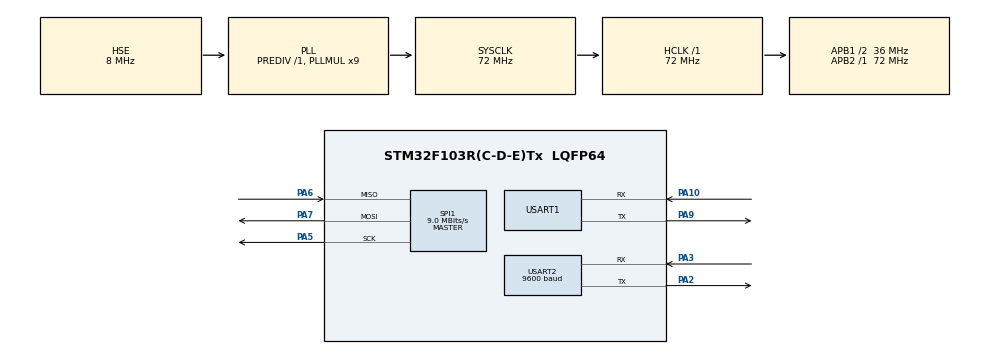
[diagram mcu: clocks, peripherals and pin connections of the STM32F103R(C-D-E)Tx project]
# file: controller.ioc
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Mcu.Family=STM32F1
Mcu.Name=STM32F103R(C-D-E)Tx
Mcu.Package=LQFP64
NVIC.PriorityGroup=NVIC_PRIORITYGROUP_4
NVIC.USART2_IRQn=true\:2\:0\:true\:false\:true\:true\:true\:true
PA10.Mode=Asynchronous
PA10.Signal=USART1_RX
PA13.Mode=Serial_Wire
PA13.Signal=SYS_JTMS-SWDIO
PA14.Mode=Serial_Wire
PA14.Signal=SYS_JTCK-SWCLK
PA2.Mode=Asynchronous
PA2.Signal=USART2_TX
PA3.Mode=Asynchronous
PA3.Signal=USART2_RX
PA5.Mode=Full_Duplex_Master
PA5.Signal=SPI1_SCK
PA6.Mode=Full_Duplex_Master
PA6.Signal=SPI1_MISO
PA7.Mode=Full_Duplex_Master
PA7.Signal=SPI1_MOSI
PA9.Mode=Asynchronous
PA9.Signal=USART1_TX
PD0-OSC_IN.Mode=HSE-External-Oscillator
PD0-OSC_IN.Signal=RCC_OSC_IN
PD1-OSC_OUT.Mode=HSE-External-Oscillator
PD1-OSC_OUT.Signal=RCC_OSC_OUT
ProjectManager.HeapSize=0x200
ProjectManager.StackSize=0x400
ProjectManager.TargetToolchain=STM32CubeIDE
RCC.AHBFreq_Value=72000000
RCC.APB1CLKDivider=RCC_HCLK_DIV2
RCC.APB1Freq_Value=36000000
RCC.APB1TimFreq_Value=72000000
RCC.APB2Freq_Value=72000000
RCC.APB2TimFreq_Value=72000000
RCC.HCLKFreq_Value=72000000
RCC.PLLMUL=RCC_PLL_MUL9
RCC.PLLSourceVirtual=RCC_PLLSOURCE_HSE
RCC.SYSCLKFreq_VALUE=72000000
RCC.SYSCLKSource=RCC_SYSCLKSOURCE_PLLCLK
RCC.USBFreq_Value=72000000
SPI1.BaudRatePrescaler=SPI_BAUDRATEPRESCALER_8
SPI1.CalculateBaudRate=9.0 MBits/s
SPI1.Direction=SPI_DIRECTION_2LINES
SPI1.Mode=SPI_MODE_MASTER
SPI1.VirtualType=VM_MASTER
USART1.VirtualMode=VM_ASYNC
USART2.BaudRate=9600
USART2.VirtualMode=VM_ASYNC
board=custom

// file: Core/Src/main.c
/* USER CODE BEGIN Header */
/**
  ******************************************************************************
  * @file           : main.c
  * @brief          : Main program body
  ******************************************************************************
  * @attention
  *
  * Copyright (c) 2022 STMicroelectronics.
  * All rights reserved.
  *
  * This software is licensed under terms that can be found in the LICENSE file
  * in the root directory of this software component.
  * If no LICENSE file comes with this software, it is provided AS-IS.
  *
  ******************************************************************************
  */
/* USER CODE END Header */
#include "main.h"
#include "spi.h"
#include "usart.h"
#include "gpio.h"

/* USER CODE BEGIN Includes */

/* Private includes ----------------------------------------------------------*/
/* USER CODE BEGIN Includes */
#include "sys.h"
#include "delay.h"
//#include "usart.h"
#include "led.h"
#include "key.h"
#include "lcd.h"
//#include "usmart.h"
#include "touch.h"
#include "24cxx.h"
#include "24l01.h" //通信驱动 基于spi进行通信
//#include "remote.h" 红外遥控驱动

#include "bluetooth.h"
#include <string.h>
#include <math.h>
/* USER CODE END Includes */

/* USER CODE BEGIN PD */
unsigned char DATA_TO_SEND[800];
int state_num = 0;
u8 STATE[30];

uint8_t rxBuffer[38];
// UART_HandleTypeDef huart1;
uint8_t map[4][4] = {
    {0, 0, 0, 0},
    {0, 0, 0, 0},
    {0, 0, 0, 0},
    {0, 0, 0, 0}
};
int mode;
extern uint8_t current_mode;
uint8_t change_mode;
uint8_t flag;
extern const unsigned char gImage_obs[6728];
extern const unsigned char gImage_HLINE[6728];
extern const unsigned char gImage_VLINE[6728];
extern const unsigned char gImage_WN[6728];
extern const unsigned char gImage_EN[6728];
extern const unsigned char gImage_WS[6728];
extern const unsigned char gImage_ES[6728];
extern const unsigned char gImage_start[6728];
extern const unsigned char gImage_end[6728];
extern const unsigned char gImage_left[6728];
extern const unsigned char gImage_right[6728];
extern const unsigned char gImage_forward[6728];
extern const unsigned char gImage_back[6728];
extern const unsigned char gImage_turnleft[6728];
extern const unsigned char gImage_turnright[6728];
extern const unsigned char gImage_stop[6728];

void draw_map(uint8_t map[4][4]); //绘制地图，显示方格中的内容（障碍物、起始点、路径）
void full_control(); //通过上位机完全控制小车移动的GUI。目前功能实现为：点击某一个方格，在屏幕上显示该方格的坐标
void path_processing(); // 路径规划的GUI。目前功能为：点击某一个方格，在方格上显示一个障碍物
void detect_obs(); //自动避障的GUI，目前功能为显示所有种类的图标

////////////////////////////////////////////////////////////////////////// 路径规划相关定义
//四个阶段
typedef enum {
    STAGE_SET_START,
    STAGE_SET_END,
    STAGE_SET_OBSTACLE,
    STAGE_DRAW_PATH,
	STAGE_FINISH
} Stage;

static Stage currentStage = STAGE_SET_START;

//起点与终点坐标
static int8_t start_r = -1,start_c = -1;
static int8_t end_r = -1, end_c = -1;

static int start_set = 0;
static int end_set = 0;

//屏幕底部预留一个高度区域，用来放两个按钮
#define BTN_CONFIRM_X1 0
#define BTN_CONFIRM_Y1 290
#define BTN_CONFIRM_X2 100
#define BTN_CONFIRM_Y2 310

#define BTN_EDIT_X1 110
#define BTN_EDIT_Y1 290
#define BTN_EDIT_X2 210
#define BTN_EDIT_Y2 310
#define BTN_START_X1 0
#define BTN_START_Y1 0
#define BTN_START_X2 100
#define BTN_START_Y2 20
#define MAX_PATH_POINTS 10000
//路径绘制数据结构
typedef struct{
	u16 x,y;
} PixelPoint;

static PixelPoint userLine[MAX_PATH_POINTS];
static int userLineLen=0;
static int drawingLine=0; // 是否正在画线中（按住屏幕）
u8 grid_path[32]; //规划路径，以格子为单位
u8 grid_len=0;
u8 nav_pkt=0; //小车是否接收到路径规划信息

void reset_all(); //重置地图与数据
void draw_buttons(); //Confirm 和 Edit 和 Start按钮
void handle_confirm(); // Confirm按钮
void handle_edit(); //Edit按钮
int touch_in_rect(u16 tx, u16 ty, u16 x1, u16 y1, u16 x2, u16 y2); //检测是否点击按钮
int screen_to_grid(int sx, int sy, int* gr, int* gc); //将屏幕坐标转为网格坐标
void draw_dashed_trajectory(PixelPoint *userLine, int userLineLen, int onLength, int offLength); //画线函数

//////////////////////////////////////////////////////////////////////////////
/* USER CODE END PD */

/* USER CODE BEGIN PM */
//清空屏幕并在右上角显示"RST"

////////////////////////////////////////////////////////////////////////////////
//电容触摸屏专有部
//画水平线
//x0,y0:坐标
//len:线长
//color:颜色
void gui_draw_hline(u16 x0,u16 y0,u16 len,u16 color)
{
	if(len==0)return;
	LCD_Fill(x0,y0,x0+len-1,y0,color);
}
//画实心圆
//x0,y0:坐标
//r:半径
//color:颜色
void gui_fill_circle(u16 x0,u16 y0,u16 r,u16 color)
{
	u32 i;
	u32 imax = ((u32)r*707)/1000+1;
	u32 sqmax = (u32)r*(u32)r+(u32)r/2;
	u32 x=r;
	gui_draw_hline(x0-r,y0,2*r,color);
	for (i=1;i<=imax;i++)
	{
		if ((i*i+x*x)>sqmax)// draw lines from outside
		{
 			if (x>imax)
			{
				gui_draw_hline (x0-i+1,y0+x,2*(i-1),color);
				gui_draw_hline (x0-i+1,y0-x,2*(i-1),color);
			}
			x--;
		}
		// draw lines from inside (center)
		gui_draw_hline(x0-x,y0+i,2*x,color);
		gui_draw_hline(x0-x,y0-i,2*x,color);
	}
}
//两个数之差的绝对
//x1,x2：需取差值的两个
//返回值：|x1-x2|
u16 my_abs(u16 x1,u16 x2)
{
	if(x1>x2)return x1-x2;
	else return x2-x1;
}
//画一条粗
//(x1,y1),(x2,y2):线条的起始坐标
//size：线条的粗细程度
//color：线条的颜色
void lcd_draw_bline(u16 x1, u16 y1, u16 x2, u16 y2,u8 size,u16 color)
{
	u16 t;
	int xerr=0,yerr=0,delta_x,delta_y,distance;
	int incx,incy,uRow,uCol;
	if(x1<size|| x2<size||y1<size|| y2<size)return;
	delta_x=x2-x1; //计算坐标增量
	delta_y=y2-y1;
	uRow=x1;
	uCol=y1;
	if(delta_x>0)incx=1; //设置单步方向
	else if(delta_x==0)incx=0;//垂直
	else {incx=-1;delta_x=-delta_x;}
	if(delta_y>0)incy=1;
	else if(delta_y==0)incy=0;//水平
	else{incy=-1;delta_y=-delta_y;}
	if( delta_x>delta_y)distance=delta_x; //选取基本增量坐标
	else distance=delta_y;
	for(t=0;t<=distance+1;t++ )//画线输出
	{
		gui_fill_circle(uRow,uCol,size,color);//画点
		xerr+=delta_x ;
		yerr+=delta_y ;
		if(xerr>distance)
		{
			xerr-=distance;
			uRow+=incx;
		}
		if(yerr>distance)
		{
			yerr-=distance;
			uCol+=incy;
		}
	}
}

void set_map(uint8_t x, uint8_t y, uint8_t type){
	map[x][y] = type;
	draw_map(map);
}

void draw_obstacle(u16 X, u16 Y)
{
	LCD_ShowPicture(X+1, Y+1, 58, 58, gImage_obs);
	return;
}
void draw_path(u16 X, u16 Y, u8 type)
{
	switch(type){
		case HLINE:
			LCD_ShowPicture(X+1, Y+1, 58, 58, gImage_HLINE);
			break;
		case VLINE:
			LCD_ShowPicture(X+1, Y+1, 58, 58, gImage_VLINE);
			break;
		case WN:
			LCD_ShowPicture(X+1, Y+1, 58, 58, gImage_WN);
			break;
		case EN:
			LCD_ShowPicture(X+1, Y+1, 58, 58, gImage_EN);
			break;
		case WS:
			LCD_ShowPicture(X+1, Y+1, 58, 58, gImage_WS);
			break;
		case ES:
			LCD_ShowPicture(X+1, Y+1, 58, 58, gImage_ES);
			break;
		case START_POINT:
			LCD_ShowPicture(X+1, Y+1, 58, 58, gImage_start);
			break;
		case END_POINT:
			LCD_ShowPicture(X+1, Y+1, 58, 58, gImage_end);
			break;
		default :
			break;
		}
}
void draw_map(uint8_t map[4][4])
{
	POINT_COLOR=BLACK;
	char mode_str[10];
	sprintf(mode_str, "mode%d", mode);
	LCD_ShowString(180, 0, 200, 16, 16, mode_str);
	for(int i=0;i<4;i++){
		for(int j=0;j<4;j++){
			int X = 2+59*j;
			int Y = 40+59*i;
			LCD_DrawRectangle(X, Y, X+59, Y+59);
			if(map[i][j]==OBSTACLE)
			{
				draw_obstacle(X,Y);
			} else if(map[i][j]==EMPTY_BLOCK) {
				continue;
			} else draw_path(X, Y, (uint8_t)map[i][j]);

		}
	}
}

void full_control()
{
	tp_dev.scan(0);
	POINT_COLOR=BLACK;
	unsigned char str[6];
	sprintf(str, "mode%d", mode);
	LCD_ShowString(180, 0, 200, 16, 16, str);
	LCD_ShowPicture(3, 41, 58, 58, gImage_turnleft);
	LCD_ShowPicture(62, 41, 58, 58, gImage_forward);
	LCD_ShowPicture(121, 41, 58, 58, gImage_turnright);
	LCD_ShowPicture(3, 100, 58, 58, gImage_left);
	LCD_ShowPicture(62, 100, 58, 58, gImage_stop);
	LCD_ShowPicture(121, 100, 58, 58, gImage_right);
	LCD_ShowPicture(62, 159, 58, 58, gImage_back);
	if(tp_dev.sta&TP_PRES_DOWN)
	{
		LCD_Clear(WHITE);
		if(tp_dev.x[0]<lcddev.width&&tp_dev.y[0]<lcddev.height)
		{
			int touchRow = (tp_dev.y[0]-40)/59;
			int touchCol = (tp_dev.x[0]-2)/59;
			LCD_ShowNum(0, 0, touchRow, 1, 16);
			LCD_ShowNum(20, 0, touchCol, 1, 16);
			if(touchRow == 0 && touchCol == 0){
				UART_SendMotionCmd(MOTION_TURN_L, 100);
			} else if (touchRow == 0 && touchCol == 1){
				UART_SendMotionCmd(MOTION_FORWARD, 100);
			} else if (touchRow == 0 && touchCol == 2){
				UART_SendMotionCmd(MOTION_TURN_R, 100);
			} else if (touchRow == 1 && touchCol == 0){
				UART_SendMotionCmd(MOTION_LEFT, 100);
			} else if (touchRow == 1 && touchCol == 1){
				// Pass
			} else if (touchRow == 1 && touchCol == 2){
				UART_SendMotionCmd(MOTION_RIGHT, 100);
			} else if (touchRow == 2 && touchCol == 1){
				UART_SendMotionCmd(MOTION_BACKWARD, 100);
			}
		}
	} else {
		delay_ms(10);
	}
}

void draw_buttons()
{
    // Confirm按钮
    LCD_DrawRectangle(BTN_CONFIRM_X1, BTN_CONFIRM_Y1, BTN_CONFIRM_X2, BTN_CONFIRM_Y2);
    LCD_ShowString(BTN_CONFIRM_X1+10, BTN_CONFIRM_Y1+3, 80,16,16,(unsigned char*)"Confirm");
    // Edit按钮
    LCD_DrawRectangle(BTN_EDIT_X1, BTN_EDIT_Y1, BTN_EDIT_X2, BTN_EDIT_Y2);
    LCD_ShowString(BTN_EDIT_X1+10, BTN_EDIT_Y1+3, 80,16,16,(unsigned char*)"Edit");
    // Start按钮
    LCD_DrawRectangle(BTN_START_X1, BTN_START_Y1, BTN_START_X2, BTN_START_Y2);
    LCD_ShowString(BTN_START_X1+10, BTN_START_Y1+3, 80,16,16,(unsigned char*)"Start");
}

void path_processing()
{

	tp_dev.scan(0);
	POINT_COLOR=BLACK;
	u8 touch_lock=0;
	//显示当前状态
	unsigned char stageInfo[20];
	    switch(currentStage) {
	    	case STAGE_SET_START:
	    		sprintf((char*)stageInfo,"Set Start");
	        break;
	    	case STAGE_SET_END:
	    		sprintf((char*)stageInfo,"Set End");
	        break;
	    	case STAGE_SET_OBSTACLE:
	    		sprintf((char*)stageInfo,"Set Obstacles");
	        break;
	    	case STAGE_DRAW_PATH:
	    		sprintf((char*)stageInfo,"Draw Path");
	        break;
	    	case STAGE_FINISH:
	    		sprintf((char*)stageInfo,"Finish");
	    }
	LCD_ShowString(130, 25, 200,16,16,stageInfo);

	draw_map(map);
	draw_buttons();
	if(tp_dev.sta&TP_PRES_DOWN)
	{
		u16 tx = tp_dev.x[0];
		u16 ty = tp_dev.y[0];
		LCD_Clear(WHITE);

		if(tx<lcddev.width&&ty<lcddev.height)
		{
			//按下Confirm
			if(touch_in_rect(tx,ty,BTN_CONFIRM_X1,BTN_CONFIRM_Y1,BTN_CONFIRM_X2,BTN_CONFIRM_Y2)&&!touch_lock){
				touch_lock=1; //手指抬起才会解锁
				handle_confirm();
			}
			//按下Edit
			else if(touch_in_rect(tx,ty,BTN_EDIT_X1,BTN_EDIT_Y1,BTN_EDIT_X2,BTN_EDIT_Y2)&&!touch_lock){
				touch_lock=1;
				handle_edit();
			}
			//按下Start
			else if(touch_in_rect(tx,ty,BTN_START_X1,BTN_START_Y1,BTN_START_X2,BTN_START_Y2)&&!touch_lock){
				nav_pkt=0;
				UART_SendNavCmd(MODE_AUTO_NAV,grid_path,grid_len);
				delay_ms(500);
				while(!nav_pkt){UART_SendNavCmd(MODE_AUTO_NAV,grid_path,grid_len);delay_ms(500);}
			}
			else{
				if(currentStage==STAGE_SET_START){
					int gr,gc;
					if(screen_to_grid(tx,ty,&gr,&gc)){
						if(start_r>=0&&start_c>=0){map[start_r][start_c]=EMPTY_BLOCK;}
						start_r=gr;start_c=gc;
						map[gr][gc]=START_POINT;
					}
				}
				else if(currentStage==STAGE_SET_END){
					int gr,gc;
					if(screen_to_grid(tx,ty,&gr,&gc)){
						if(end_r>=0&&end_c>=0){map[end_r][end_c]=EMPTY_BLOCK;}
						//不能和起点重合
						if(!(gr==start_r&&gc==start_c)){
							end_r=gr;end_c=gc;
							map[gr][gc]=END_POINT;
						}
					}
				}
				else if(currentStage==STAGE_SET_OBSTACLE){
					int gr,gc;
					if(screen_to_grid(tx,ty,&gr,&gc)){
						if(map[gr][gc]==EMPTY_BLOCK&&map[gr][gc]!=START_POINT&&map[gr][gc]!=END_POINT){map[gr][gc]=OBSTACLE;}
						else if(map[gr][gc]==OBSTACLE){map[gr][gc]=EMPTY_BLOCK;}
					}
				}
				else if(currentStage==STAGE_DRAW_PATH){
						if(userLineLen<MAX_PATH_POINTS){
							if(userLineLen<2){
								userLine[userLineLen].x=tx;
								userLine[userLineLen].y=ty;
								userLineLen++;

							}
							else{
								if((userLine[userLineLen-1].x!=tx||userLine[userLineLen-1].y!=ty)&&(userLine[userLineLen-2].x!=tx||userLine[userLineLen-2].y!=ty)){
									userLine[userLineLen].x=tx;
									userLine[userLineLen].y=ty;
									userLineLen++;
								}
							}
						}
						int gr,gc;
						if(screen_to_grid(tx,ty,&gr,&gc)){
							if(grid_path[grid_len-1]!=gc||grid_path[grid_len-2]!=gr){
								grid_path[grid_len++]=gr;
								grid_path[grid_len++]=gc;
							}
						}
						if(userLineLen>1){
							draw_dashed_trajectory(userLine,userLineLen,8,4);
						}
				}
			}
		}
	} else {
		if(currentStage==STAGE_DRAW_PATH){
			LCD_ShowString(0,0,200,16,16,(unsigned char*)"Path Recorded!");
		}
		delay_ms(10);
		touch_lock=0;
	}
}

int screen_to_grid(int sx, int sy, int* gr, int* gc)
{
    int row = (sy-40)/59;
    int col = (sx-2)/59;
    if(row>=0 && row<4 && col>=0 && col<4) {
        *gr = row;
        *gc = col;
        return 1;
    }
    return 0;
}

void reset_all()
{
    for(int i=0;i<4;i++){
        for(int j=0;j<4;j++){
            map[i][j] = EMPTY_BLOCK;
        }
    }
    start_r=-1;start_c=-1;
    end_r=-1;end_c=-1;
    userLineLen=0;
    drawingLine=0;
    currentStage=STAGE_SET_START;
    grid_len=0;
    LCD_Clear(WHITE);
}
void draw_dashed_trajectory(PixelPoint *userLine, int userLineLen, int onLength, int offLength)
{
	POINT_COLOR=RED;
    int totalPattern = onLength + offLength;
    static int patternIndex = 0;
    int drawing = 0;
    int segmentStartX = 0;
    int segmentStartY = 0;
    for(int i=0; i<userLineLen-1; i++) {
        int x1 = userLine[i].x;
        int y1 = userLine[i].y;
        int x2 = userLine[i+1].x;
        int y2 = userLine[i+1].y;
        float dx = (float)(x2 - x1);
        float dy = (float)(y2 - y1);
        float length = sqrtf(dx*dx + dy*dy);
        float ux = dx / length;
        float uy = dy / length;

        float dist = 0.0f;
        while(dist < length) {
            float curXf = x1 + ux * dist;
            float curYf = y1 + uy * dist;
            int curX = (int)(curXf+0.5f);
            int curY = (int)(curYf+0.5f);
            int posInCycle = patternIndex % totalPattern;
            int nowDrawing = (posInCycle < onLength) ? 1 : 0;

            if(nowDrawing && !drawing) {
                drawing = 1;
                segmentStartX = curX;
                segmentStartY = curY;
            } else if(!nowDrawing && drawing) {
                drawing = 0;
                LCD_DrawLine((u16)segmentStartX, (u16)segmentStartY, (u16)curX, (u16)curY);
            }

            dist += 1.0f;
            patternIndex++;
        }

        if(drawing) {
            LCD_DrawLine((u16)segmentStartX, (u16)segmentStartY, (u16)x2, (u16)y2);
            drawing = 0;
        }
    }
}
int touch_in_rect(u16 tx, u16 ty, u16 x1,u16 y1,u16 x2,u16 y2)
{
    return (tx>=x1 && tx<=x2 && ty>=y1 && ty<=y2);
}

void handle_confirm()
{
    switch(currentStage) {
    case STAGE_SET_START:
        if(start_r>=0 && start_c>=0) {
            currentStage=STAGE_SET_END;
        }
        break;
    case STAGE_SET_END:
        if(end_r>=0 && end_c>=0) {
            currentStage=STAGE_SET_OBSTACLE;
        }
        break;
    case STAGE_SET_OBSTACLE:
        currentStage=STAGE_DRAW_PATH;
        userLineLen=0;grid_len=0;
        memset(userLine,-1,sizeof(userLine));
        memset(grid_path,0,sizeof(grid_path));
        grid_path[grid_len++]=start_r;grid_path[grid_len++]=start_c; //设置起点
        break;
    case STAGE_DRAW_PATH:
        // TODO:路径绘制完成,确认后发送数据给小车
        // 通过蓝牙发送 start_r,start_c,end_r,end_c,map中的障碍等信息
        // 以及用户绘制的userLine路径数据
        LCD_ShowString(0,25,200,16,16,(unsigned char*)"Path Confirmed!");
        currentStage=STAGE_FINISH;
        if(grid_path[grid_len-1]!=end_c||grid_path[grid_len-2]!=end_r){
        	grid_path[grid_len++]=end_r;grid_path[grid_len++]=end_c;//设置终点
        }
        break;
    case STAGE_FINISH:
    	reset_all();
    	break;
    }
}

void handle_edit()
{
    // 根据当前阶段返回上一个阶段
    switch(currentStage) {
    case STAGE_SET_START:
        break;
    case STAGE_SET_END:
        currentStage=STAGE_SET_START;
        break;
    case STAGE_SET_OBSTACLE:
        currentStage=STAGE_SET_END;
        break;
    case STAGE_DRAW_PATH:
        currentStage=STAGE_SET_OBSTACLE;
        break;
    case STAGE_FINISH:
    	currentStage=STAGE_DRAW_PATH;
    	LCD_Clear(WHITE);
    	userLineLen=0;grid_len=0;
    	memset(userLine,-1,sizeof(userLine));
    	memset(grid_path,0,sizeof(grid_path));
    }
}

void detect_obs()
{
	tp_dev.scan(0);
    POINT_COLOR=BLACK;

    if(tp_dev.sta&TP_PRES_DOWN)
    {
        if(tp_dev.x[0]<lcddev.width&&tp_dev.y[0]<lcddev.height)
        {
			LCD_Clear(WHITE);
            int touchRow = (tp_dev.y[0]-40)/59;
            int touchCol = (tp_dev.x[0]-2)/59;
            // 确保触摸点在有效范围内
            if(touchRow >= 0 && touchRow < 4 && touchCol >= 0 && touchCol < 4) {
                if(map[touchRow][touchCol] == EMPTY_BLOCK){
                    if(start_set == 0){
                        start_set = 1;
                        start_r = touchRow;
                        start_c = touchCol;
                        map[touchRow][touchCol] = START_POINT;
						LCD_Clear(WHITE);
						draw_map(map);
						LCD_ShowString(0,0,200,16,16,(unsigned char*)"Start Set!");
                    } else if(end_set == 0){
                        end_set = 1;
                        end_r = touchRow;
                        end_c = touchCol;
                        map[touchRow][touchCol] = END_POINT;
                        SendEnvDetectCmd(start_r * 4 + start_c, end_r * 4 + end_c);
						LCD_Clear(WHITE);
						draw_map(map);
						LCD_ShowString(0,0,200,16,16,(unsigned char*)"End Set!");
						start_set = 0;
						end_set = 0;
                    }
                }
            }
        }
    } else {
        delay_ms(10);
    }
    draw_map(map);
}

void track_line()
{
	tp_dev.scan(0);
	POINT_COLOR=BLACK;
	unsigned char str[6];
	sprintf(str, "mode%d", mode);
	LCD_ShowString(180, 0, 200, 16, 16, str);

	LCD_DrawRectangle(50, 100, 190, 140);
	char track_line_str[20];
	sprintf(track_line_str, "Track line");
	LCD_ShowString(60, 110, 200, 16, 16, (unsigned char*)track_line_str);
	LCD_DrawRectangle(50, 180, 190, 220);
	char full_control_str[20];
	sprintf(full_control_str, "Full control");
	LCD_ShowString(60, 190, 200, 16, 16, (unsigned char*)full_control_str);

	if(tp_dev.sta&TP_PRES_DOWN
			&& tp_dev.x[0] > 50 && tp_dev.x[0] < 190)
	{
		if(tp_dev.y[0] > 100 && tp_dev.y[0] < 140)		//track_line
		{
			mode = 0;
			flag = 1;
			LCD_Clear(WHITE);

		}else if(tp_dev.y[0] > 180 && tp_dev.y[0] < 220)//Full_control
		{
			mode = 1;
			flag = 1;
			LCD_Clear(WHITE);
		}
	}
}
////////////////////////////////////////////////////////////////////////////////
//5个触控点的颜色(电容触摸屏用)
const u16 POINT_COLOR_TBL[5]={RED,GREEN,BLUE,BROWN,GRED};

/* USER CODE END PM */

void SystemClock_Config(void);

int main(void)
{

  /* MCU Configuration--------------------------------------------------------*/

  /* Reset of all peripherals, Initializes the Flash interface and the Systick. */
  HAL_Init();

  /* USER CODE BEGIN Init */
  	Stm32_Clock_Init(RCC_PLL_MUL9);   	//设置时钟,72M
	delay_init(72);               		//初始化延时函数
//	uart_init(115200);					//初始化串口
//	usmart_dev.init(84); 		  	  	//初始化USMART
	LED_Init();							//初始化LED
	KEY_Init();							//初始化按键
	LCD_Init();							//初始化LCD
	tp_dev.init();				   		//触摸屏初始化
  /* USER CODE END Init */

  /* Configure the system clock */
  SystemClock_Config();

  /* Initialize all configured peripherals */
  MX_GPIO_Init();
  MX_SPI1_Init();
  MX_USART1_UART_Init();
  MX_USART2_UART_Init();
  /* USER CODE BEGIN 2 */
  HAL_UART_Receive_IT(&huart2, rxBuffer, 1);
  mode = FULL_CONTROL;
  flag = 0;
  /* USER CODE END 2 */

  /* Infinite loop */
  /* USER CODE BEGIN WHILE */
  	while(1)
  	{
  		u8 key;
  		key=KEY_Scan(0);
  		change_mode=0;
  		if(flag){ //flag为1，发送模式切换信号
  			UART_SendModeCmd(mode);
  			delay_ms(500);
  			while(!change_mode){UART_SendModeCmd(mode);delay_ms(500);}
  			flag=0;
  		}

  		switch(mode)
  		{
  		case FULL_CONTROL:full_control(); break;
  		case PATH_PROCESSING:path_processing(); break;
  		case DETECT_OBS:detect_obs(); break;
  		case TRACK_LINE:track_line(); break;
  		}
		SetOperationMode(mode);

  		if(key==WKUP_PRES)	//KEY0按下,切换模式
  		{
  			flag=1; // 模式切换标志位
  			mode++;
  			mode%=4;
  			for(int i=0;i<4;i++){
  				for(int j=0;j<4;j++){
  					map[i][j] = EMPTY_BLOCK;
  				}
  			}
  			LCD_Clear(WHITE);	//清屏
  		}
  	}

    /* USER CODE END WHILE */

}

void SystemClock_Config(void)
{
  RCC_OscInitTypeDef RCC_OscInitStruct = {0};
  RCC_ClkInitTypeDef RCC_ClkInitStruct = {0};

  /** Initializes the RCC Oscillators according to the specified parameters
  * in the RCC_OscInitTypeDef structure.
  */
  RCC_OscInitStruct.OscillatorType = RCC_OSCILLATORTYPE_HSE;
  RCC_OscInitStruct.HSEState = RCC_HSE_ON;
  RCC_OscInitStruct.HSEPredivValue = RCC_HSE_PREDIV_DIV1;
  RCC_OscInitStruct.HSIState = RCC_HSI_ON;
  RCC_OscInitStruct.PLL.PLLState = RCC_PLL_ON;
  RCC_OscInitStruct.PLL.PLLSource = RCC_PLLSOURCE_HSE;
  RCC_OscInitStruct.PLL.PLLMUL = RCC_PLL_MUL9;
  if (HAL_RCC_OscConfig(&RCC_OscInitStruct) != HAL_OK)
  {
    Error_Handler();
  }

  /** Initializes the CPU, AHB and APB buses clocks
  */
  RCC_ClkInitStruct.ClockType = RCC_CLOCKTYPE_HCLK|RCC_CLOCKTYPE_SYSCLK
                              |RCC_CLOCKTYPE_PCLK1|RCC_CLOCKTYPE_PCLK2;
  RCC_ClkInitStruct.SYSCLKSource = RCC_SYSCLKSOURCE_PLLCLK;
  RCC_ClkInitStruct.AHBCLKDivider = RCC_SYSCLK_DIV1;
  RCC_ClkInitStruct.APB1CLKDivider = RCC_HCLK_DIV2;
  RCC_ClkInitStruct.APB2CLKDivider = RCC_HCLK_DIV1;

  if (HAL_RCC_ClockConfig(&RCC_ClkInitStruct, FLASH_LATENCY_2) != HAL_OK)
  {
    Error_Handler();
  }
}

void Error_Handler(void)
{
  __disable_irq();
  while (1)
  {
  }
}
